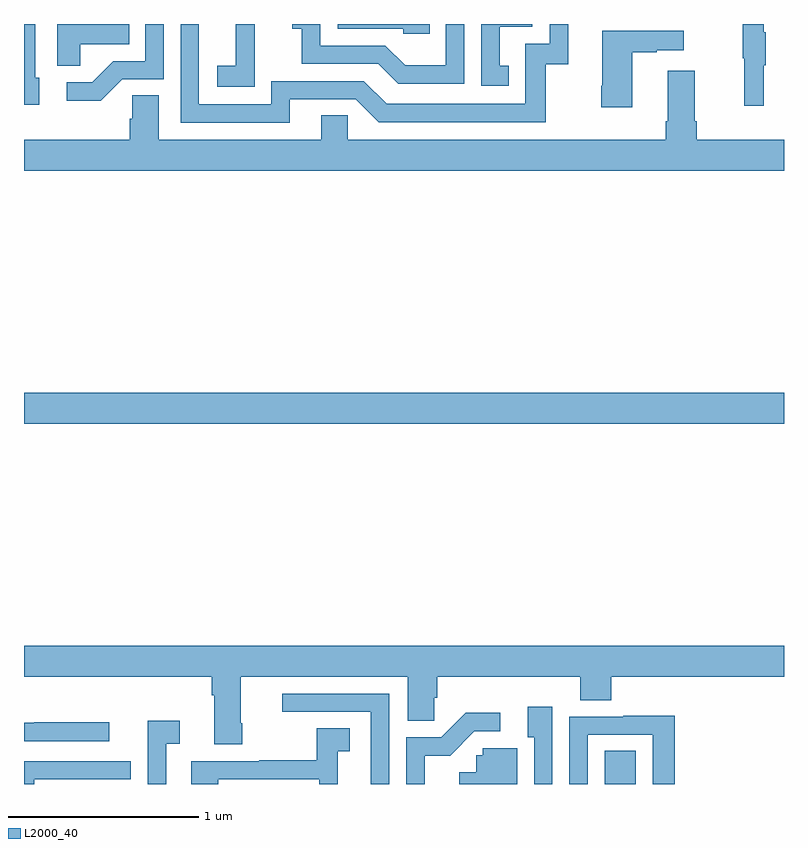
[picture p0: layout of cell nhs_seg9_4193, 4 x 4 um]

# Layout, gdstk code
import gdstk
lib = gdstk.Library(unit=1e-6, precision=1e-09)
def R(c, l, rs):  # rectangles x0, y0, x1, y1
    for r in rs: c.add(gdstk.rectangle(r[:2], r[2:], *l))
def P(c, l, *ps):  # polygons
    for p in ps: c.add(gdstk.Polygon(p, *l))
L2000_40 = (2000, 40)

nhs_seg9_4193 = lib.new_cell('nhs_seg9_4193')
R(nhs_seg9_4193, L2000_40, [(354.056,1218.5,354.22,1218.674), (351,1220.396,355,1220.56)])
P(nhs_seg9_4193, L2000_40, [(352.399,1222.104),(352.746,1222.104),(352.866,1221.984),(353.746,1221.984),(353.746,1222.287),(353.864,1222.287),(353.864,1222.5),(353.766,1222.5),(353.766,1222.395),(353.637,1222.395),(353.637,1222.08),(352.908,1222.08),(352.788,1222.2),(352.302,1222.2),(352.302,1222.077),(351.921,1222.077),(351.921,1222.5),(351.825,1222.5),(351.825,1221.981),(352.399,1221.981)],
  [(351.079,1222.218),(351.06,1222.218),(351.06,1222.5),(351,1222.5),(351,1222.074),(351.079,1222.074)],
  [(353.135,1222.5),(352.65,1222.5),(352.65,1222.476),(352.995,1222.476),(352.995,1222.449),(353.135,1222.449)],
  [(352.215,1222.375),(352.214,1222.375),(352.214,1222.5),(352.115,1222.5),(352.115,1222.279),(352.017,1222.279),(352.017,1222.169),(352.215,1222.169)],
  [(354.893,1222.283),(354.904,1222.283),(354.904,1222.457),(354.893,1222.457),(354.893,1222.5),(354.783,1222.5),(354.783,1222.32),(354.79,1222.32),(354.79,1222.071),(354.893,1222.071)],
  [(353.552,1222.281),(353.503,1222.281),(353.503,1222.485),(353.676,1222.485),(353.676,1222.5),(353.406,1222.5),(353.406,1222.176),(353.552,1222.176)],
  [(351.516,1222.209),(351.735,1222.209),(351.735,1222.5),(351.639,1222.5),(351.639,1222.305),(351.47,1222.305),(351.359,1222.194),(351.225,1222.194),(351.225,1222.097),(351.403,1222.097)],
  [(353.316,1222.5),(353.22,1222.5),(353.22,1222.282),(353.006,1222.282),(352.902,1222.386),(352.56,1222.386),(352.56,1222.5),(352.413,1222.5),(352.413,1222.475),(352.462,1222.475),(352.462,1222.29),(352.865,1222.29),(352.97,1222.185),(353.316,1222.185)],
  [(351.297,1222.394),(351.554,1222.394),(351.554,1222.498),(351.176,1222.498),(351.176,1222.279),(351.297,1222.279)],
  [(354.202,1222.351),(354.329,1222.351),(354.329,1222.361),(354.472,1222.361),(354.472,1222.465),(354.044,1222.465),(354.044,1222.174),(354.037,1222.174),(354.037,1222.062),(354.202,1222.062)],
  [(355,1221.892),(354.542,1221.892),(354.542,1221.988),(354.529,1221.988),(354.529,1222.255),(354.389,1222.255),(354.389,1221.988),(354.377,1221.988),(354.377,1221.892),(352.704,1221.892),(352.704,1222.019),(352.565,1222.019),(352.565,1221.892),(351.709,1221.892),(351.709,1222.124),(351.57,1222.124),(351.57,1222.001),(351.557,1222.001),(351.557,1221.892),(351,1221.892),(351,1221.728),(355,1221.728)],
  [(352.149,1218.82),(352.141,1218.82),(352.141,1219.064),(353.021,1219.064),(353.021,1218.832),(353.159,1218.832),(353.159,1218.954),(353.174,1218.954),(353.174,1219.064),(353.927,1219.064),(353.927,1218.94),(354.092,1218.94),(354.092,1219.064),(355,1219.064),(355,1219.228),(351,1219.228),(351,1219.064),(351.989,1219.064),(351.989,1218.968),(352.001,1218.968),(352.001,1218.708),(352.149,1218.708)],
  [(352.923,1218.975),(352.359,1218.975),(352.359,1218.879),(352.826,1218.879),(352.826,1218.5),(352.923,1218.5)],
  [(353.781,1218.907),(353.651,1218.907),(353.651,1218.746),(353.685,1218.746),(353.685,1218.5),(353.781,1218.5)],
  [(353.11,1218.65),(353.243,1218.65),(353.37,1218.777),(353.506,1218.777),(353.506,1218.875),(353.324,1218.875),(353.196,1218.747),(353.013,1218.747),(353.013,1218.5),(353.11,1218.5)],
  [(353.967,1218.759),(354.309,1218.759),(354.309,1218.5),(354.425,1218.5),(354.425,1218.859),(354.155,1218.859),(354.155,1218.855),(353.871,1218.855),(353.871,1218.5),(353.967,1218.5)],
  [(351.748,1218.712),(351.82,1218.712),(351.82,1218.832),(351.651,1218.832),(351.651,1218.5),(351.748,1218.5)],
  [(351.448,1218.825),(351.055,1218.825),(351.055,1218.822),(351,1218.822),(351,1218.726),(351.448,1218.726)],
  [(352.023,1218.525),(352.554,1218.525),(352.554,1218.5),(352.65,1218.5),(352.65,1218.673),(352.714,1218.673),(352.714,1218.794),(352.542,1218.794),(352.542,1218.624),(352.237,1218.624),(352.237,1218.621),(351.879,1218.621),(351.879,1218.5),(352.023,1218.5)],
  [(353.596,1218.687),(353.415,1218.687),(353.415,1218.651),(353.379,1218.651),(353.379,1218.562),(353.292,1218.562),(353.292,1218.5),(353.596,1218.5)],
  [(351.054,1218.525),(351.449,1218.525),(351.449,1218.526),(351.562,1218.526),(351.562,1218.621),(351,1218.621),(351,1218.5),(351.054,1218.5)])

lib.write_gds('nhs_seg9_4193.gds')
